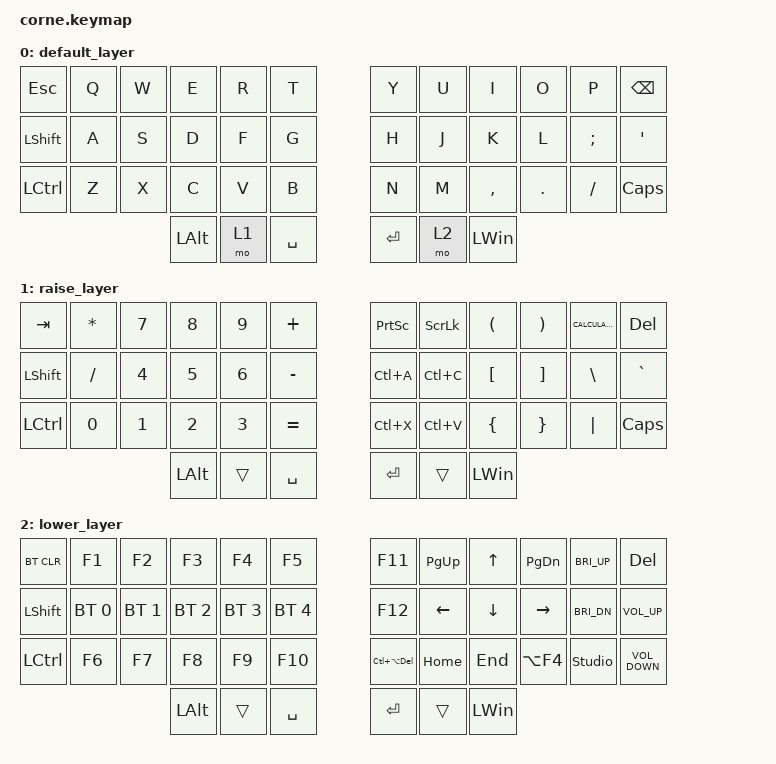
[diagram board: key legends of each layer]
/*
 * Copyright (c) 2020 The ZMK Contributors
 *
 * SPDX-License-Identifier: MIT
 */

#include <behaviors.dtsi>
#include <dt-bindings/zmk/bt.h>
#include <dt-bindings/zmk/keys.h>

/ {
    keymap {
        compatible = "zmk,keymap";

        default_layer {
            // -----------------------------------------------------------------------------------------
            // |  TAB |  Q  |  W  |  E  |  R  |  T  |   |  Y  |  U   |  I  |  O  |  P  | BSPC |
            // | CTRL |  A  |  S  |  D  |  F  |  G  |   |  H  |  J   |  K  |  L  |  ;  |  '   |
            // | SHFT |  Z  |  X  |  C  |  V  |  B  |   |  N  |  M   |  ,  |  .  |  /  | ESC  |
            //                    | GUI | LWR | SPC |   | ENT | RSE  | ALT |

            bindings = <
&kp ESCAPE      &kp Q  &kp W  &kp E         &kp R  &kp T        &kp Y    &kp U  &kp I         &kp O    &kp P     &kp BSPC
&kp LEFT_SHIFT  &kp A  &kp S  &kp D         &kp F  &kp G        &kp H    &kp J  &kp K         &kp L    &kp SEMI  &kp SQT
&kp LCTRL       &kp Z  &kp X  &kp C         &kp V  &kp B        &kp N    &kp M  &kp COMMA     &kp DOT  &kp FSLH  &kp CLCK
                              &kp LEFT_ALT  &mo 1  &kp SPACE    &kp RET  &mo 2  &kp LEFT_WIN
            >;
        };

        raise_layer {
            // -----------------------------------------------------------------------------------------
            // |  TAB |  !  |  @  |  #  |  $  |  %  |   |  ^  |  &  |  *  |  (  |  )  | BSPC |
            // | CTRL |     |     |     |     |     |   |  -  |  =  |  [  |  ]  |  \  |  `   |
            // | SHFT |     |     |     |     |     |   |  _  |  +  |  {  |  }  | "|" |  ~   |
            //                    | GUI |     | SPC |   | ENT |     | ALT |

            bindings = <
&kp TAB           &kp ASTERISK  &kp N7        &kp N8        &kp N9        &kp PLUS     &kp PRINTSCREEN  &kp SCROLLLOCK  &kp LEFT_PARENTHESIS  &kp RIGHT_PARENTHESIS  &kp K_CALCULATOR  &kp DELETE
&kp LEFT_SHIFT    &kp SLASH     &kp NUMBER_4  &kp N5        &kp NUMBER_6  &kp MINUS    &kp LC(A)        &kp LC(C)       &kp LBKT              &kp RBKT               &kp BSLH          &kp GRAVE
&kp LEFT_CONTROL  &kp N0        &kp NUMBER_1  &kp NUMBER_2  &kp NUMBER_3  &kp EQUAL    &kp LC(X)        &kp LC(V)       &kp LBRC              &kp RBRC               &kp PIPE          &kp CAPSLOCK
                                              &kp LEFT_ALT  &trans        &kp SPACE    &kp RET          &trans          &kp LWIN
            >;
        };

        lower_layer {
            // -----------------------------------------------------------------------------------------
            // |  TAB |  1  |  2  |  3  |  4  |  5  |   |  6  |  7  |  8  |  9  |  0  | BSPC |
            // | BTCLR| BT1 | BT2 | BT3 | BT4 | BT5 |   | LFT | DWN |  UP | RGT |     |      |
            // | SHFT |     |     |     |     |     |   |     |     |     |     |     |      |
            //                    | GUI |     | SPC |   | ENT |     | ALT |

            bindings = <
&bt BT_CLR        &kp F1        &kp F2        &kp F3        &kp F4        &kp F5          &kp F11          &kp PAGE_UP  &kp UP_ARROW  &kp PAGE_DOWN  &kp C_BRI_UP    &kp DELETE
&kp LEFT_SHIFT    &bt BT_SEL 0  &bt BT_SEL 1  &bt BT_SEL 2  &bt BT_SEL 3  &bt BT_SEL 4    &kp F12          &kp LEFT     &kp DOWN      &kp RIGHT      &kp C_BRI_DN    &kp C_VOLUME_UP
&kp LEFT_CONTROL  &kp F6        &kp F7        &kp F8        &kp F9        &kp F10         &kp LC(LA(DEL))  &kp HOME     &kp END       &kp LA(F4)     &studio_unlock  &kp C_VOLUME_DOWN
                                              &kp LEFT_ALT  &trans        &kp SPACE       &kp RET          &trans       &kp LEFT_WIN
            >;
        };
    };
};
